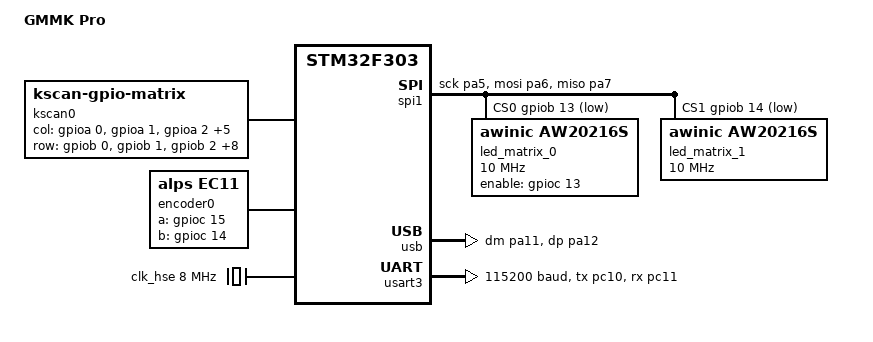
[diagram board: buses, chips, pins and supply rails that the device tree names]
/*
 * Copyright (c) 2025 G3rtz
 * SPDX-License-Identifier: MIT
 *
 * ZMK Board Definition for Glorious GMMK Pro (ANSI)
 * MCU: STM32F303CCT6 (ARM Cortex-M4, 72 MHz, 256KB Flash, 40KB RAM)
 * Matrix: 11 rows x 8 columns, col2row diodes
 * Encoder: Alps EC11 on PC14/PC15
 * LED Driver: AW20216S x2 via SPI (currently unsupported in ZMK)
 *
 * Pin mapping verified against QMK keyboard.json:
 *   Columns: PA0-PA4, PA8-PA10 (active high, active drive)
 *   Rows:    PB0-PB10 (active low, active sense)
 *   Encoder: PC15 (A), PC14 (B)
 *   USB:     PA11 (DM), PA12 (DP)
 *   SPI1:    PA5 (SCK), PA6 (MOSI), PA7 (MISO) [for AW20216S]
 *   AW20216S CS: PB13, PB14; Enable: PC13
 */
/dts-v1/;
#include <dt-bindings/zmk/matrix_transform.h>
#include <st/f3/stm32f303Xc.dtsi>
#include <st/f3/stm32f303c(b-c)tx-pinctrl.dtsi>

/* Matrix-Transform (83 Tasten, ANSI) – geteilt mit dem Central */
#include <gmmk_pro_transform.dtsi>

/ {
    model = "GMMK Pro";
    compatible = "glorious,gmmk_pro", "st,stm32f303";

    chosen {
        zephyr,sram = &sram0;
        zephyr,flash = &flash0;
        zmk,kscan = &kscan0;
        zmk,matrix-transform = &default_transform;
        zmk,underglow = &led_matrix_0;
    };

    kscan0: kscan_0 {
        compatible = "zmk,kscan-gpio-matrix";
        diode-direction = "col2row";
        wakeup-source;

        col-gpios
            = <&gpioa 0  GPIO_ACTIVE_HIGH>
            , <&gpioa 1  GPIO_ACTIVE_HIGH>
            , <&gpioa 2  GPIO_ACTIVE_HIGH>
            , <&gpioa 3  GPIO_ACTIVE_HIGH>
            , <&gpioa 4  GPIO_ACTIVE_HIGH>
            , <&gpioa 8  GPIO_ACTIVE_HIGH>
            , <&gpioa 9  GPIO_ACTIVE_HIGH>
            , <&gpioa 10 GPIO_ACTIVE_HIGH>
            ;

        row-gpios
            = <&gpiob 0  (GPIO_ACTIVE_HIGH | GPIO_PULL_DOWN)>
            , <&gpiob 1  (GPIO_ACTIVE_HIGH | GPIO_PULL_DOWN)>
            , <&gpiob 2  (GPIO_ACTIVE_HIGH | GPIO_PULL_DOWN)>
            , <&gpiob 3  (GPIO_ACTIVE_HIGH | GPIO_PULL_DOWN)>
            , <&gpiob 4  (GPIO_ACTIVE_HIGH | GPIO_PULL_DOWN)>
            , <&gpiob 5  (GPIO_ACTIVE_HIGH | GPIO_PULL_DOWN)>
            , <&gpiob 6  (GPIO_ACTIVE_HIGH | GPIO_PULL_DOWN)>
            , <&gpiob 7  (GPIO_ACTIVE_HIGH | GPIO_PULL_DOWN)>
            , <&gpiob 8  (GPIO_ACTIVE_HIGH | GPIO_PULL_DOWN)>
            , <&gpiob 9  (GPIO_ACTIVE_HIGH | GPIO_PULL_DOWN)>
            , <&gpiob 10 (GPIO_ACTIVE_HIGH | GPIO_PULL_DOWN)>
            ;
    };

    encoder0: encoder_0 {
        compatible = "alps,ec11";
        a-gpios = <&gpioc 15 (GPIO_ACTIVE_HIGH | GPIO_PULL_UP)>;
        b-gpios = <&gpioc 14 (GPIO_ACTIVE_HIGH | GPIO_PULL_UP)>;
        steps = <80>;
        status = "okay";
    };

    sensors: sensors {
        compatible = "zmk,keymap-sensors";
        sensors = <&encoder0>;
        triggers-per-rotation = <20>;
    };

};

/* SPI1 für AW20216S LED-Treiber: PA5=SCK, PA6=MOSI, PA7=MISO */
&spi1 {
    status = "okay";
    pinctrl-0 = <&spi1_sck_pa5 &spi1_mosi_pa6 &spi1_miso_pa7>;
    pinctrl-names = "default";
    cs-gpios = <&gpiob 13 GPIO_ACTIVE_LOW>, <&gpiob 14 GPIO_ACTIVE_LOW>;

    led_matrix_0: aw20216s@0 {
        compatible = "awinic,aw20216s";
        reg = <0>;
        spi-max-frequency = <10000000>;
        enable-gpios = <&gpioc 13 GPIO_ACTIVE_HIGH>;
    };

    led_matrix_1: aw20216s@1 {
        compatible = "awinic,aw20216s";
        reg = <1>;
        spi-max-frequency = <10000000>;
    };
};

&flash0 {
    partitions {
        compatible = "fixed-partitions";
        #address-cells = <1>;
        #size-cells = <1>;

        /* Set 6KB of storage at the end of the 256KB of flash */
        storage_partition: partition@3e800 {
            reg = <0x0003e800 0x00001800>;
        };
    };
};

zephyr_udc0: &usb {
    pinctrl-0 = <&usb_dm_pa11 &usb_dp_pa12>;
    pinctrl-names = "default";
    status = "okay";
};

/* USART3 auf PC10 (TX) / PC11 (RX) für Split-Verbindung zum nice!nano */
/* PC10/PC11 fehlen in stm32f303c(b-c)tx-pinctrl.dtsi → eigene Definition */
&pinctrl {
    usart3_tx_pc10: usart3_tx_pc10 {
        pinmux = <STM32_PINMUX('C', 10, AF7)>;
        bias-pull-up;
    };
    usart3_rx_pc11: usart3_rx_pc11 {
        pinmux = <STM32_PINMUX('C', 11, AF7)>;
    };
};

&usart3 {
    pinctrl-0 = <&usart3_tx_pc10 &usart3_rx_pc11>;
    pinctrl-names = "default";
    current-speed = <115200>;
    status = "okay";
};

/ {
    wired_split: wired_split {
        compatible = "zmk,wired-split";
        device = <&usart3>;
    };
};

&clk_hse {
    status = "okay";
    clock-frequency = <DT_FREQ_M(8)>;
};

&pll {
    prediv = <1>;
    mul = <9>;
    clocks = <&clk_hse>;
    status = "okay";
};

&rcc {
    clocks = <&pll>;
    clock-frequency = <DT_FREQ_M(72)>;
    ahb-prescaler = <1>;
    apb1-prescaler = <2>;
    apb2-prescaler = <1>;
};
